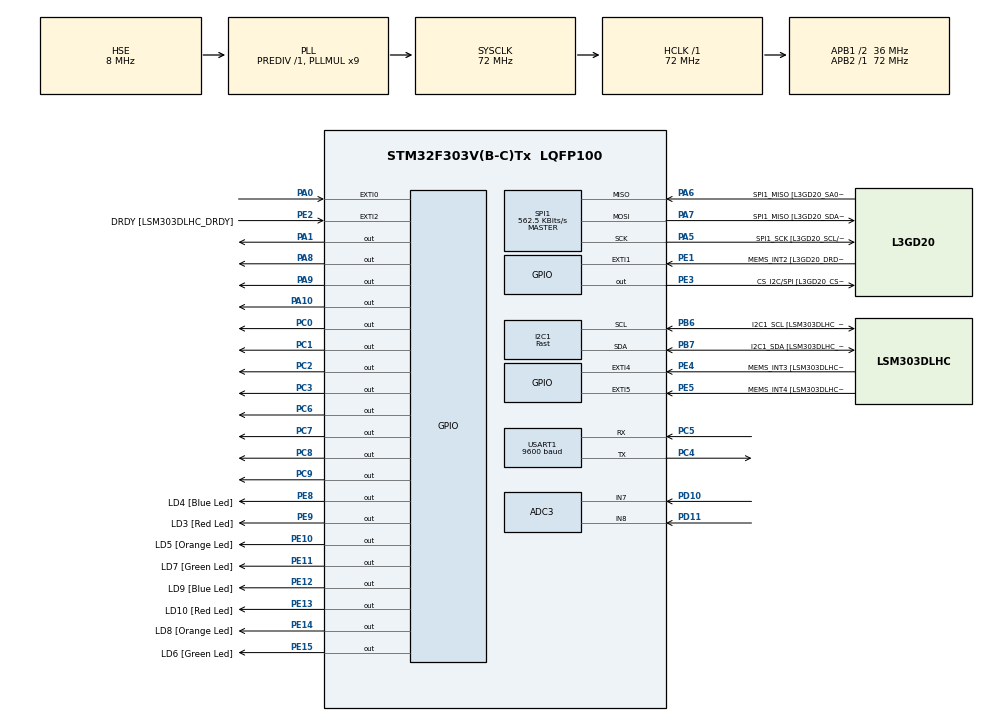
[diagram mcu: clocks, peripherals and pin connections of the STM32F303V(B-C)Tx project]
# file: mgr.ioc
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ADC3.Channel-0\#ChannelRegularConversion=ADC_CHANNEL_7
ADC3.Channel-1\#ChannelRegularConversion=ADC_CHANNEL_8
ADC3.ClockPrescaler=ADC_CLOCKPRESCALER_PCLK_DIV4
ADC3.ContinuousConvMode=ENABLE
ADC3.DMAContinuousRequests=ENABLE
ADC3.NbrOfConversion=2
ADC3.NbrOfConversionFlag=1
ADC3.Offset-0\#ChannelRegularConversion=0
ADC3.Offset-1\#ChannelRegularConversion=0
ADC3.OffsetNumber-0\#ChannelRegularConversion=ADC_OFFSET_NONE
ADC3.OffsetNumber-1\#ChannelRegularConversion=ADC_OFFSET_NONE
ADC3.Rank-0\#ChannelRegularConversion=1
ADC3.Rank-1\#ChannelRegularConversion=2
ADC3.SamplingTime-0\#ChannelRegularConversion=ADC_SAMPLETIME_181CYCLES_5
ADC3.SamplingTime-1\#ChannelRegularConversion=ADC_SAMPLETIME_181CYCLES_5
ADC3.master=1
Dma.ADC3.0.Direction=DMA_PERIPH_TO_MEMORY
Dma.ADC3.0.Instance=DMA2_Channel5
Dma.ADC3.0.MemDataAlignment=DMA_MDATAALIGN_HALFWORD
Dma.ADC3.0.MemInc=DMA_MINC_ENABLE
Dma.ADC3.0.Mode=DMA_CIRCULAR
Dma.ADC3.0.PeriphDataAlignment=DMA_PDATAALIGN_HALFWORD
Dma.ADC3.0.PeriphInc=DMA_PINC_DISABLE
Dma.ADC3.0.Priority=DMA_PRIORITY_LOW
Dma.I2C1_RX.1.Direction=DMA_PERIPH_TO_MEMORY
Dma.I2C1_RX.1.Instance=DMA1_Channel7
Dma.I2C1_RX.1.MemDataAlignment=DMA_MDATAALIGN_BYTE
Dma.I2C1_RX.1.MemInc=DMA_MINC_ENABLE
Dma.I2C1_RX.1.Mode=DMA_NORMAL
Dma.I2C1_RX.1.PeriphDataAlignment=DMA_PDATAALIGN_BYTE
Dma.I2C1_RX.1.PeriphInc=DMA_PINC_DISABLE
Dma.I2C1_RX.1.Priority=DMA_PRIORITY_LOW
Dma.Request0=ADC3
Dma.Request1=I2C1_RX
Dma.Request2=USART1_RX
Dma.Request3=USART1_TX
Dma.USART1_RX.2.Direction=DMA_PERIPH_TO_MEMORY
Dma.USART1_RX.2.Instance=DMA1_Channel5
Dma.USART1_RX.2.MemDataAlignment=DMA_MDATAALIGN_BYTE
Dma.USART1_RX.2.MemInc=DMA_MINC_ENABLE
Dma.USART1_RX.2.Mode=DMA_NORMAL
Dma.USART1_RX.2.PeriphDataAlignment=DMA_PDATAALIGN_BYTE
Dma.USART1_RX.2.PeriphInc=DMA_PINC_DISABLE
Dma.USART1_RX.2.Priority=DMA_PRIORITY_LOW
Dma.USART1_TX.3.Direction=DMA_MEMORY_TO_PERIPH
Dma.USART1_TX.3.Instance=DMA1_Channel4
Dma.USART1_TX.3.MemDataAlignment=DMA_MDATAALIGN_BYTE
Dma.USART1_TX.3.MemInc=DMA_MINC_ENABLE
Dma.USART1_TX.3.Mode=DMA_NORMAL
Dma.USART1_TX.3.PeriphDataAlignment=DMA_PDATAALIGN_BYTE
Dma.USART1_TX.3.PeriphInc=DMA_PINC_DISABLE
Dma.USART1_TX.3.Priority=DMA_PRIORITY_LOW
I2C1.I2C_Speed_Mode=I2C_Fast
I2C1.Timing=0x0000020B
Mcu.Family=STM32F3
Mcu.Name=STM32F303V(B-C)Tx
Mcu.Package=LQFP100
NVIC.DMA1_Channel4_IRQn=true\:0\:0\:false
NVIC.DMA1_Channel5_IRQn=true\:0\:0\:false
NVIC.DMA1_Channel7_IRQn=true\:0\:0\:false
NVIC.DMA2_Channel5_IRQn=true\:0\:0\:false
NVIC.EXTI0_IRQn=true\:0\:0\:false
NVIC.PriorityGroup=NVIC_PRIORITYGROUP_1
NVIC.TIM6_DAC_IRQn=true\:1\:1\:true
NVIC.TIM7_IRQn=true\:0\:0\:true
NVIC.USART1_IRQn=true\:0\:0\:false
PA0.Signal=GPXTI0
PA1.Signal=GPIO_Output
PA10.Signal=GPIO_Output
PA11.GPIO_Label=DM
PA11.Signal=USB_DM
PA12.GPIO_Label=DP
PA12.Signal=USB_DP
PA13.GPIO_Label=SWDIO
PA13.Mode=Trace-Asynchronous_SW
PA13.Signal=SYS_JTMS-SWDIO
PA14.GPIO_Label=SWCLK
PA14.Mode=Trace-Asynchronous_SW
PA14.Signal=SYS_JTCK-SWCLK
PA5.GPIO_Label=SPI1_SCK [L3GD20_SCL/SPC]
PA5.GPIO_Mode=GPIO_MODE_AF_PP
PA5.GPIO_PuPd=GPIO_NOPULL
PA5.GPIO_Speed=GPIO_SPEED_LOW
PA5.Mode=Full_Duplex_Master
PA5.Signal=SPI1_SCK
PA6.GPIO_Label=SPI1_MISO [L3GD20_SA0/SDO]
PA6.GPIO_Mode=GPIO_MODE_AF_PP
PA6.GPIO_PuPd=GPIO_NOPULL
PA6.GPIO_Speed=GPIO_SPEED_LOW
PA6.Mode=Full_Duplex_Master
PA6.Signal=SPI1_MISO
PA7.GPIO_Label=SPI1_MISO [L3GD20_SDA/SDI/SDO]
PA7.GPIO_Mode=GPIO_MODE_AF_PP
PA7.GPIO_PuPd=GPIO_NOPULL
PA7.GPIO_Speed=GPIO_SPEED_LOW
PA7.Mode=Full_Duplex_Master
PA7.Signal=SPI1_MOSI
PA8.Signal=GPIO_Output
PA9.Signal=GPIO_Output
PB3.GPIO_Label=SWO
PB3.Mode=Trace-Asynchronous_SW
PB3.Signal=SYS_JTDO-TRACESWO
PB6.GPIO_FM6=__NULL
PB6.GPIO_Label=I2C1_SCL [LSM303DLHC_SCL]
PB6.GPIO_Mode=GPIO_MODE_AF_OD
PB6.GPIO_PuPd=GPIO_NOPULL
PB6.GPIO_Speed=GPIO_SPEED_LOW
PB6.Mode=I2C
PB6.Signal=I2C1_SCL
PB7.GPIO_FM7=__NULL
PB7.GPIO_Label=I2C1_SDA [LSM303DLHC_SDA]
PB7.GPIO_Mode=GPIO_MODE_AF_OD
PB7.GPIO_PuPd=GPIO_NOPULL
PB7.GPIO_Speed=GPIO_SPEED_LOW
PB7.Mode=I2C
PB7.Signal=I2C1_SDA
PC0.Signal=GPIO_Output
PC1.Signal=GPIO_Output
PC14-OSC32_IN.GPIO_Label=OSC32_IN
PC14-OSC32_IN.Signal=RCC_OSC32_IN
PC15-OSC32_OUT.GPIO_Label=OSC32_OUT
PC15-OSC32_OUT.Signal=RCC_OSC32_OUT
PC2.Signal=GPIO_Output
PC3.Signal=GPIO_Output
PC4.Mode=Asynchronous
PC4.Signal=USART1_TX
PC5.Mode=Asynchronous
PC5.Signal=USART1_RX
PC6.Signal=GPIO_Output
PC7.Signal=GPIO_Output
PC8.Signal=GPIO_Output
PC9.Signal=GPIO_Output
PD10.Signal=ADCx_IN7P
PD11.Signal=ADCx_IN8P
PE1.GPIO_Label=MEMS_INT2 [L3GD20_DRDY/INT2]
PE1.GPIO_ModeDefaultEXTI=GPIO_MODE_EVT_RISING
PE1.GPIO_PuPd=GPIO_NOPULL
PE1.Signal=GPXTI1
PE10.GPIO_Label=LD5 [Orange Led]
PE10.GPIO_ModeDefaultOutputPP=GPIO_MODE_OUTPUT_PP
PE10.GPIO_PuPd=GPIO_NOPULL
PE10.GPIO_Speed=GPIO_SPEED_LOW
PE10.Signal=GPIO_Output
PE11.GPIO_Label=LD7 [Green Led]
PE11.GPIO_ModeDefaultOutputPP=GPIO_MODE_OUTPUT_PP
PE11.GPIO_PuPd=GPIO_NOPULL
PE11.GPIO_Speed=GPIO_SPEED_LOW
PE11.Signal=GPIO_Output
PE12.GPIO_Label=LD9 [Blue Led]
PE12.GPIO_ModeDefaultOutputPP=GPIO_MODE_OUTPUT_PP
PE12.GPIO_PuPd=GPIO_NOPULL
PE12.GPIO_Speed=GPIO_SPEED_LOW
PE12.Signal=GPIO_Output
PE13.GPIO_Label=LD10 [Red Led]
PE13.GPIO_ModeDefaultOutputPP=GPIO_MODE_OUTPUT_PP
PE13.GPIO_PuPd=GPIO_NOPULL
PE13.GPIO_Speed=GPIO_SPEED_LOW
PE13.Signal=GPIO_Output
PE14.GPIO_Label=LD8 [Orange Led]
PE14.GPIO_ModeDefaultOutputPP=GPIO_MODE_OUTPUT_PP
PE14.GPIO_PuPd=GPIO_NOPULL
PE14.GPIO_Speed=GPIO_SPEED_LOW
PE14.Signal=GPIO_Output
PE15.GPIO_Label=LD6 [Green Led]
PE15.GPIO_ModeDefaultOutputPP=GPIO_MODE_OUTPUT_PP
PE15.GPIO_PuPd=GPIO_NOPULL
PE15.GPIO_Speed=GPIO_SPEED_LOW
PE15.Signal=GPIO_Output
PE2.GPIO_Label=DRDY [LSM303DLHC_DRDY]
PE2.GPIO_ModeDefaultEXTI=GPIO_MODE_EVT_RISING
PE2.GPIO_PuPd=GPIO_NOPULL
PE2.Signal=GPXTI2
PE3.GPIO_Label=CS_I2C/SPI [L3GD20_CS_I2C/SPI]
PE3.GPIO_ModeDefaultOutputPP=GPIO_MODE_OUTPUT_PP
PE3.GPIO_PuPd=GPIO_NOPULL
PE3.GPIO_Speed=GPIO_SPEED_LOW
PE3.Signal=GPIO_Output
PE4.GPIO_Label=MEMS_INT3 [LSM303DLHC_INT1]
PE4.GPIO_ModeDefaultEXTI=GPIO_MODE_EVT_RISING
PE4.GPIO_PuPd=GPIO_NOPULL
PE4.Signal=GPXTI4
PE5.GPIO_Label=MEMS_INT4 [LSM303DLHC_INT2]
PE5.GPIO_ModeDefaultEXTI=GPIO_MODE_EVT_RISING
PE5.GPIO_PuPd=GPIO_NOPULL
PE5.Signal=GPXTI5
PE8.GPIO_Label=LD4 [Blue Led]
PE8.GPIO_ModeDefaultOutputPP=GPIO_MODE_OUTPUT_PP
PE8.GPIO_PuPd=GPIO_NOPULL
PE8.GPIO_Speed=GPIO_SPEED_LOW
PE8.Signal=GPIO_Output
PE9.GPIO_Label=LD3 [Red Led]
PE9.GPIO_ModeDefaultOutputPP=GPIO_MODE_OUTPUT_PP
PE9.GPIO_PuPd=GPIO_NOPULL
PE9.GPIO_Speed=GPIO_SPEED_LOW
PE9.Signal=GPIO_Output
PF0-OSC_IN.GPIO_Label=OSC_IN
PF0-OSC_IN.Mode=HSE-External-Oscillator
PF0-OSC_IN.Signal=RCC_OSC_IN
PF1-OSC_OUT.GPIO_Label=OSC_OUT
PF1-OSC_OUT.Mode=HSE-External-Oscillator
PF1-OSC_OUT.Signal=RCC_OSC_OUT
ProjectManager.TargetToolchain=SW4STM32
RCC.AHBFreq_Value=72000000
RCC.APB1CLKDivider=RCC_HCLK_DIV2
RCC.APB1Freq_Value=36000000
RCC.APB1TimFreq_Value=72000000
RCC.APB2Freq_Value=72000000
RCC.APB2TimFreq_Value=72000000
RCC.CortexFreq_Value=72000000
RCC.HCLKFreq_Value=72000000
RCC.HSE_VALUE=8000000
RCC.HSI_VALUE=8000000
RCC.LSE_VALUE=32768
RCC.PLLMUL=RCC_PLL_MUL9
RCC.PLLSourceVirtual=RCC_PLLSOURCE_HSE
RCC.PRESCALERUSB=RCC_USBPLLCLK_DIV1_5
RCC.SYSCLKFreq_VALUE=72000000
RCC.SYSCLKSourceVirtual=RCC_SYSCLKSOURCE_PLLCLK
RCC.USBFreq_Value=48000000
SH.ADCx_IN7P.0=ADC3_IN7,IN7-Single-Ended
SH.ADCx_IN8P.0=ADC3_IN8,IN8-Single-Ended
SPI1.BaudRatePrescaler=SPI_BAUDRATEPRESCALER_128
SPI1.CLKPhase=SPI_PHASE_2EDGE
SPI1.CLKPolarity=SPI_POLARITY_HIGH
SPI1.CalculateBaudRate=562.5 KBits/s
SPI1.DataSize=SPI_DATASIZE_16BIT
SPI1.Mode=SPI_MODE_MASTER
TIM6.Period=11999
TIM6.Prescaler=119
TIM7.Period=9
TIM7.Prescaler=71
USART1.BaudRate=9600
VP_TIM6_VS_ClockSourceINT.Mode=Enable_Timer
VP_TIM7_VS_ClockSourceINT.Mode=Enable_Timer
board=STM32F3DISCOVERY

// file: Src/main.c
/**
  ******************************************************************************
  * File Name          : main.c
  * Description        : Main program body
  ******************************************************************************
  *
  * COPYRIGHT(c) 2018 STMicroelectronics
  *
  * Redistribution and use in source and binary forms, with or without modification,
  * are permitted provided that the following conditions are met:
  *   1. Redistributions of source code must retain the above copyright notice,
  *      this list of conditions and the following disclaimer.
  *   2. Redistributions in binary form must reproduce the above copyright notice,
  *      this list of conditions and the following disclaimer in the documentation
  *      and/or other materials provided with the distribution.
  *   3. Neither the name of STMicroelectronics nor the names of its contributors
  *      may be used to endorse or promote products derived from this software
  *      without specific prior written permission.
  *
  * THIS SOFTWARE IS PROVIDED BY THE COPYRIGHT HOLDERS AND CONTRIBUTORS "AS IS"
  * AND ANY EXPRESS OR IMPLIED WARRANTIES, INCLUDING, BUT NOT LIMITED TO, THE
  * IMPLIED WARRANTIES OF MERCHANTABILITY AND FITNESS FOR A PARTICULAR PURPOSE ARE
  * DISCLAIMED. IN NO EVENT SHALL THE COPYRIGHT HOLDER OR CONTRIBUTORS BE LIABLE
  * FOR ANY DIRECT, INDIRECT, INCIDENTAL, SPECIAL, EXEMPLARY, OR CONSEQUENTIAL
  * DAMAGES (INCLUDING, BUT NOT LIMITED TO, PROCUREMENT OF SUBSTITUTE GOODS OR
  * SERVICES; LOSS OF USE, DATA, OR PROFITS; OR BUSINESS INTERRUPTION) HOWEVER
  * CAUSED AND ON ANY THEORY OF LIABILITY, WHETHER IN CONTRACT, STRICT LIABILITY,
  * OR TORT (INCLUDING NEGLIGENCE OR OTHERWISE) ARISING IN ANY WAY OUT OF THE USE
  * OF THIS SOFTWARE, EVEN IF ADVISED OF THE POSSIBILITY OF SUCH DAMAGE.
  *
  ******************************************************************************
  */
#include "stm32f3xx_hal.h"

/* USER CODE BEGIN Includes */
typedef int bool;
#define true 1
#define false 0

#define WHEEL_INTERTIA 1//2.2456e-05
bool motors_on=false;
bool battery_ok=true;
uint16_t Analog[2];
float Voltage=0;
float Current=0;

float time_s=0;
float angle=0;
float angle_correction;
float comp_gain=0.2;//0.05;
float set_point=0;
float speed_set_point=0;
float speed=0;
float speed_integral=0;
float P=68;//40
float I=36;
float D=1.8;//1.6 z kablem 1.8 spoko bez
float P_2=3;
float I_2=0.22;
float error;
float integral;
float derivative;
#include <math.h>
#include <limits.h>
#include <stddef.h>
#include <stdlib.h>
#include <string.h>
#include <stdio.h>

#include "LIB_Config.h"
#include "G:\Studia\Mgr\mgr\stm\mgr\SW4STM32\mgr Configuration\Application\User\get_b_constraints.h"
#include "G:\Studia\Mgr\mgr\stm\mgr\SW4STM32\mgr Configuration\Application\User\steppers.h"
#include "G:\Studia\Mgr\mgr\stm\mgr\SW4STM32\mgr Configuration\Application\User\magdewick.h"
#include "G:\Studia\Mgr\mgr\stm\mgr\SW4STM32\mgr Configuration\Application\User\MadgwickAHRS.h"
#include "my_interupts.h"
#include "tm_stm32f4_l3gd20.h"

/* USER CODE END Includes */

ADC_HandleTypeDef hadc3;
DMA_HandleTypeDef hdma_adc3;

I2C_HandleTypeDef hi2c1;
DMA_HandleTypeDef hdma_i2c1_rx;

SPI_HandleTypeDef hspi1;

TIM_HandleTypeDef htim6;
TIM_HandleTypeDef htim7;

UART_HandleTypeDef huart1;
DMA_HandleTypeDef hdma_usart1_rx;
DMA_HandleTypeDef hdma_usart1_tx;

/* USER CODE BEGIN PV */
/* Private variables ---------------------------------------------------------*/
uint8_t Received[10]; //data buffer from uart/bluettoh
uint32_t steppers_cnt=0;
uint32_t time_to_next_step=2;
int8_t stepper_direction=1;
float acceleration=0.1;
float BalancePoint= 88.57*DEGREE2RAD;
TM_L3GD20_t L3GD20_Data;
Acceleration_G_data LSM303_Data;
// Global system variables
//Quaternion Magdewick_res={1,0,0,0};

// estimated orientation quaternion elements with initial conditions
float gyro_X_angle =0;
float gyro_Y_angle =0;
float gyro_Z_angle =0;
float gyro_X_speed =0;
float gyro_Y_speed =0;
float gyro_Z_speed =0;
float accel_angle;
float pitch=0;
float roll=0;
/// MPC VARIABLES/////////////////////
float Np = 15;
float r[2]={0, 0};
float X_act[6] ={
		  0.000000, //phi
		  0.000000, //etha
		  0.000000, //d phi
		  0.000000, //d etha
		  0.000000, // wheel speed out
		  0.000000 }; //etha out

const float  F[180]={
0.000000,0.000000,0.000000,0.000000,0.000000,0.000000,0.000000,0.000000,0.000000,0.000000,0.000000,0.000000,0.000000,0.000000,0.000000,0.000000,0.000000,0.000000,0.000000,0.000000,0.000000,0.000000,0.000000,0.000000,0.000000,0.000000,0.000000,0.000000,0.000000,0.000000,
1.033300,0.000000,2.133174,0.000000,3.325771,0.000000,4.637785,0.000000,6.097348,0.000000,7.734716,0.000000,9.582963,0.000000,11.678706,0.000000,14.062869,0.000000,16.781528,0.000000,19.886823,0.000000,23.437989,0.000000,27.502503,0.000000,32.157381,0.000000,37.490653,0.000000,
0.008102,0.000000,0.026841,0.000000,0.056070,0.000000,0.095865,0.000000,0.146589,0.000000,0.208883,0.000000,0.283667,0.000000,0.372142,0.000000,0.475807,0.000000,0.596477,0.000000,0.736316,0.000000,0.897866,0.000000,1.084095,0.000000,1.298452,0.000000,1.544922,0.000000,
0.013882,0.000000,0.039098,0.000000,0.075494,0.000000,0.123292,0.000000,0.183020,0.000000,0.255499,0.000000,0.341848,0.000000,0.443494,0.000000,0.562190,0.000000,0.700039,0.000000,0.859529,0.000000,1.043578,0.000000,1.255581,0.000000,1.499470,0.000000,1.779791,0.000000,
1.000000,0.000000,1.000000,0.000000,1.000000,0.000000,1.000000,0.000000,1.000000,0.000000,1.000000,0.000000,1.000000,0.000000,1.000000,0.000000,1.000000,0.000000,1.000000,0.000000,1.000000,0.000000,1.000000,0.000000,1.000000,0.000000,1.000000,0.000000,1.000000,0.000000,
0.000000,1.000000,0.000000,1.000000,0.000000,1.000000,0.000000,1.000000,0.000000,1.000000,0.000000,1.000000,0.000000,1.000000,0.000000,1.000000,0.000000,1.000000,0.000000,1.000000,0.000000,1.000000,0.000000,1.000000,0.000000,1.000000,0.000000,1.000000,0.000000,1.000000,
};
const float  Phi[90]={
0.127391,0.000000,0.326471,0.000000,0.560497,0.000000,0.832456,0.000000,1.147217,0.000000,1.510530,0.000000,1.929088,0.000000,2.410657,0.000000,2.964205,0.000000,3.600076,0.000000,4.330176,0.000000,5.168198,0.000000,6.129874,0.000000,7.233271,0.000000,8.499131,0.000000,
0.000000,0.000000,0.127391,0.000000,0.326471,0.000000,0.560497,0.000000,0.832456,0.000000,1.147217,0.000000,1.510530,0.000000,1.929088,0.000000,2.410657,0.000000,2.964205,0.000000,3.600076,0.000000,4.330176,0.000000,5.168198,0.000000,6.129874,0.000000,7.233271,0.000000,
0.000000,0.000000,0.000000,0.000000,0.127391,0.000000,0.326471,0.000000,0.560497,0.000000,0.832456,0.000000,1.147217,0.000000,1.510530,0.000000,1.929088,0.000000,2.410657,0.000000,2.964205,0.000000,3.600076,0.000000,4.330176,0.000000,5.168198,0.000000,6.129874,0.000000,
};
const float  H[9]={
243.598964,204.224579,169.961303,
204.224579,171.363737,142.748057,
169.961303,142.748057,119.043520,
};

const float  A_cons[36]={
1.000000,1.000000,1.000000,-1.000000,-1.000000,-1.000000,1.000000,0.000000,0.000000,-1.000000,-0.000000,-0.000000,
0.000000,1.000000,1.000000,-0.000000,-1.000000,-1.000000,0.000000,1.000000,0.000000,-0.000000,-1.000000,-0.000000,
0.000000,0.000000,1.000000,-0.000000,-0.000000,-1.000000,0.000000,0.000000,1.000000,-0.000000,-0.000000,-1.000000,
};
float b[12];

float eta[3];
float X_prev[6]	=	  {0,//-1.12, //phi
0.000000, //etha
0.000000, //d phi
0.000000, //d etha
0.000000, // wheel speed out
0};//-1.12 }; //etha out
float X_diff[6];
float f[3];
/////////////////////MPc VARIABLES END ////////////////////////////////////////////
/* USER CODE END PV */

void SystemClock_Config(void);
static void MX_GPIO_Init(void);
static void MX_DMA_Init(void);
static void MX_ADC3_Init(void);
static void MX_I2C1_Init(void);
static void MX_SPI1_Init(void);
static void MX_TIM6_Init(void);
static void MX_TIM7_Init(void);
static void MX_USART1_UART_Init(void);

/* USER CODE BEGIN PFP */
/* Private function prototypes -----------------------------------------------*/
void HAL_GPIO_EXTI_Callback(uint16_t GPIO_Pin){
	if ((motors_on==true)&&(battery_ok==true))
	{	motors_on=false;
		HAL_GPIO_WritePin(GPIOA,GPIO_PIN_1,GPIO_PIN_SET);}
	else
	{	motors_on=true;
		HAL_GPIO_WritePin(GPIOA,GPIO_PIN_1,GPIO_PIN_RESET);
	}
	//acceleration=-acceleration;
	speed_integral=0;
	integral=0;
}

void HAL_TIM_PeriodElapsedCallback(TIM_HandleTypeDef *htim){
 if(htim->Instance == TIM6){ // Je¿eli przerwanie pochodzi od timera 6 200Hz
	 float const dt=0.02;
	 time_s+=dt;
/*
	 //HAL_GPIO_TogglePin(GPIOC,GPIO_PIN_6);
	  // Pobranie 6 bajt7ow danych zawierajacych przyspieszenia w 3 osiach
	  	TM_L3GD20_Read(&L3GD20_Data);
	 	getAcceleration(&LSM303_Data);
	 	gyro_X_speed =((float)(L3GD20_Data.X)*L3GD20_SENSITIVITY_250 * 0.001)*0.0174532925;
	 	//gyro_Y_speed =((float)(L3GD20_Data.Y)*L3GD20_SENSITIVITY_250 * 0.001)*0.0174532925;
	 	//gyro_Z_speed =((float)(L3GD20_Data.Z)*L3GD20_SENSITIVITY_250 * 0.001)*0.0174532925;

		if(time_to_next_step<5)
			time_to_next_step=5;

		speed=(float)((-GET_WHEEL_SPEED_FACTOR*(float)stepper_direction)/(float)time_to_next_step);
		speed_integral+= speed*dt; //+= speed*dt;

	 	gyro_X_angle+=gyro_X_speed *dt;
		accel_angle=atan2f(LSM303_Data.X,LSM303_Data.Z)*-1;

		angle=comp_gain*accel_angle+(1-comp_gain)*(angle+((float)(L3GD20_Data.X)*L3GD20_SENSITIVITY_250 * 0.001*DEGREE2RAD)*dt);//-BalancePoint;

		angle_correction=angle-BalancePoint;
		derivative=((set_point-angle_correction)-error)/dt ;

		integral += error*dt;

		X_act[0]=angle_correction;
		X_act[1]=speed_integral;
		X_act[2]=gyro_X_speed;
		X_act[3]=speed;
		X_act[4]=angle_correction;//angle_correction;
		X_act[5]=angle_correction;

		float X_prev[6];

		for(int i=0;i<4;i++)
		{
			X_diff[i]=X_act[i]-X_prev[i];
		}
		X_diff[4]=angle_correction;//angle_correction;
		X_diff[5]=angle_correction;

		//get_b_constraints(MAX_U_DELTA, MAX_U,acceleration, b);
		get_b_constraints(MAX_U_DELTA, MAX_U,acceleration, b);

		 get_f(Np,  r,  F, X_diff,Phi, f);
		 QPhild2(H, f, A_cons,b, eta);

		 for(int i=0;i<4;i++)
		 {
		 	X_prev[i]=X_act[i];
		 }

		if(eta[0]==eta[0])//false when NaN
		 acceleration+= eta[0]/WHEEL_INTERTIA; //+=

	 	if (acceleration< -MAX_U)
	 		acceleration=-MAX_U;
	 	if (acceleration >MAX_U)
	 		acceleration=MAX_U;

	 	Voltage=3*(((float)Analog[0])/409);
	 	Current=3*(((float)Analog[1])/409);
*/
 }
 if(htim->Instance == TIM7){ // Je¿eli przerwanie pochodzi od timera 7 100 kHz
	 steppers_cnt++;
	 if(steppers_cnt>time_to_next_step)
	 {
		 make_step(stepper_direction);
		 time_to_next_step=calculate_next_step(&acceleration,&stepper_direction);
		 steppers_cnt=0;

	 }
 }
}

void HAL_UART_RxCpltCallback(UART_HandleTypeDef *huart) {

 static uint8_t Data[260]; // Tablica przechowujaca wysylana wiadomosc.

 //sprintf(Data, "Odebrana wiadomosc: %s\n\r", Received);

 float const dt=0.02;
 TM_L3GD20_Read(&L3GD20_Data);
 getAcceleration(&LSM303_Data);
 gyro_X_speed =((float)(L3GD20_Data.X)*L3GD20_SENSITIVITY_250 * 0.001)*0.0174532925;

 speed=(float)((-GET_WHEEL_SPEED_FACTOR*(float)stepper_direction)/(float)time_to_next_step);
 speed_integral+= speed*dt; //+= speed*dt;

 gyro_X_angle+=gyro_X_speed *dt;
 accel_angle=atan2f(LSM303_Data.X,LSM303_Data.Z)*-1;

 angle=comp_gain*accel_angle+(1-comp_gain)*(angle+((float)(L3GD20_Data.X)*L3GD20_SENSITIVITY_250 * 0.001*DEGREE2RAD)*dt);//-BalancePoint;

 angle_correction=angle-BalancePoint;
 derivative=((set_point-angle_correction)-error)/dt ;

 //sprintf(Data, "Test=%g", (float)123.33);
 int64_t X_act_int[6];
 int64_t eta_int[3];

 		X_act[0]=angle_correction;
 		X_act[1]=speed_integral;
 		X_act[2]=gyro_X_speed;
 		X_act[3]=speed;
 		X_act[4]=angle_correction;//angle_correction;
 		X_act[5]=angle_correction;

 		int i;

 		static float X_prev[4]={0,0,0,0};
 		for(int i=0;i<4;i++)
 		   {
 		    	X_diff[i]=X_act[i]-X_prev[i];
 		    }
 		    X_diff[4]=angle_correction;//angle_correction;
 		    X_diff[5]=angle_correction;
 		for (i = 0; i < 6; i++) {
 			X_act_int[i]=(int64_t)(X_diff[i]*1000000000);
 			}

 		get_b_constraints(MAX_U_DELTA, MAX_U,acceleration, b);
 		get_f(Np,  r,  F, X_act,Phi, f);
 	    QPhild2(H, f, A_cons,b, eta);

 	   for (i = 0; i < 3; i++) {
 		  eta_int[i]=(int64_t)(eta[i]*1000000000);
 	    }
 	   for(int i=0;i<4;i++)
 	   {
 	      X_prev[i]=X_act[i];
 	   }
 	   sprintf(Data, "XA:%d;%d;%d;%d;%d;%d;%d;%d;%d",X_act_int[0],X_act_int[1],X_act_int[2],X_act_int[3],X_act_int[4],X_act_int[5],eta_int[0],eta_int[1],eta_int[2]);

 		HAL_UART_Transmit_DMA(&huart1, Data, 260); // Rozpoczecie nadawania danych z wykorzystaniem przerwan
 		HAL_UART_Receive_DMA(&huart1, Received, 10); // Ponowne w³¹czenie nas³uchiwania
}

/* USER CODE END PFP */

/* USER CODE BEGIN 0 */
/* L3GD20 Struct */

/* USER CODE END 0 */

int main(void)
{

  /* MCU Configuration----------------------------------------------------------*/

  /* Reset of all peripherals, Initializes the Flash interface and the Systick. */
  HAL_Init();

  /* Configure the system clock */
  SystemClock_Config();

  /* Initialize all configured peripherals */
  MX_GPIO_Init();
  MX_DMA_Init();
  MX_ADC3_Init();
  MX_I2C1_Init();
  MX_SPI1_Init();
  MX_TIM6_Init();
  MX_TIM7_Init();
  MX_USART1_UART_Init();

  /* USER CODE BEGIN 2 */
  HAL_GPIO_TogglePin(GPIOA,GPIO_PIN_1);
 //HAL_GPIO_TogglePin(GPIOA,GPIO_PIN_3); //////////TUUUUUUUU
  HAL_TIM_Base_Start_IT(&htim6);
  HAL_TIM_Base_Start_IT(&htim7);
  HAL_ADC_Start_DMA(&hadc3, Analog, 2);
  HAL_GPIO_WritePin(GPIOE, GPIO_PIN_15, GPIO_PIN_SET);
//GYRO INIT
  TM_L3GD20_Init(TM_L3GD20_Scale_250);

  //Akcelerometr
  // wypelnieine zmiennej konfiguracyjnej odpowiednimi opcjami
   uint8_t Settings = LSM303_ACC_XYZ_ENABLE | LSM303_ACC_100HZ;
   // Wpisanie konfiguracji do rejestru akcelerometru
    HAL_I2C_Mem_Write(&hi2c1, LSM303_ACC_ADDRESS, LSM303_ACC_CTRL_REG1_A, 1, &Settings, 1, 100);

    //* MPC UNIT TEST */
  /*  acceleration=0;

    //10.1;-0.01;0.1; 0 ; 0;0
	X_act[0]=10.1;
	X_act[1]=-0.01;
	X_act[2]=0.1;
	X_act[3]=0;
	X_act[4]=0;
	X_act[5]=0;

	//get_b_constraints(MAX_U_DELTA, MAX_U,acceleration, b);
	int i;
		for (i = 0; i < 3; i++) {
		    b[i] = MAX_U - acceleration;
		  }
		for (i = 0; i < 3; i++) {
			 b[i+3] = -MAX_U - acceleration;
		}
		 for (i = 0; i < 3; i++) {
		    b[i + 6] = acceleration+MAX_U_DELTA  ;
		  }
		 for (i = 0; i < 3; i++) {
		 	b[i + 9] = -MAX_U_DELTA +acceleration;
		 }

	 get_f(Np,  r,  F, X_act,Phi, f);
	 QPhild2(H, f, A_cons,b, eta);

	 acceleration= eta[0];
*/

  /* USER CODE END 2 */

  /* Infinite loop */
  /* USER CODE BEGIN WHILE */
 /*   acceleration=0;
    		HAL_Delay(1500);
    				X_act[0]=0;
    				X_act[1]=0.1;
    				X_act[2]=0;
    				X_act[3]=0;
    				X_act[4]=0.1;//angle_correction;
    				X_act[5]=0.1;

    				float X_prev[4]={0,0,0,0};
    				for(int i=0;i<4;i++)
    				{
    					X_diff[i]=X_act[i]-X_prev[i];
    				}
    				X_diff[4]=angle_correction;//angle_correction;
    				X_diff[5]=angle_correction;

    				get_b_constraints(MAX_U_DELTA, MAX_U,acceleration, b);
    				get_f(Np,  r,  F, X_diff,Phi, f);
    				QPhild2(H, f, A_cons,b, eta);

    				 for(int i=0;i<4;i++)
    				 {
    				 	X_prev[i]=X_act[i];
    				 }
    				if(eta[0]==eta[0])//false when NaN
    				 acceleration+= eta[0]/WHEEL_INTERTIA; //+=

    				//////////2//////////////////////////////////////////

    				HAL_Delay(1500);
    								X_act[0]=-0.0012;
    								X_act[1]=0.1033;
    								X_act[2]=-0.0579;
    								X_act[3]=0.2655;
    								X_act[4]=0.1033;//angle_correction;
    								X_act[5]=0.1033;

    								for(int i=0;i<4;i++)
    								{
    									X_diff[i]=X_act[i]-X_prev[i];
    								}
    								X_diff[4]=0.1033;//angle_correction;
    								X_diff[5]=0.1033;

    								get_b_constraints(MAX_U_DELTA, MAX_U,acceleration, b);
    								get_f(Np,  r,  F, X_diff,Phi, f);
    								QPhild2(H, f, A_cons,b, eta);

    								 for(int i=0;i<4;i++)
    								 {
    								 	X_prev[i]=X_act[i];
    								 }
    								if(eta[0]==eta[0])//false when NaN
    								 acceleration+= eta[0]/WHEEL_INTERTIA; //+=

    				//////////3//////////////////////////////////////////
    								HAL_Delay(1500);
    								X_act[0]= 0.0081;

    												X_act[1]=0.0985;
    												X_act[2]=0.6492;
    												X_act[3]=-0.4117;
    												X_act[4]=0.0985;//angle_correction;
    												X_act[5]=0.0985;

    												for(int i=0;i<4;i++)
    												{
    													X_diff[i]=X_act[i]-X_prev[i];
    												}
    												X_diff[4]=angle_correction;//angle_correction;
    												X_diff[5]=angle_correction;

    												get_b_constraints(MAX_U_DELTA, MAX_U,acceleration, b);
    												get_f(Np,  r,  F, X_diff,Phi, f);
    												QPhild2(H, f, A_cons,b, eta);

    												 for(int i=0;i<4;i++)
    												 {
    												 	X_prev[i]=X_act[i];
    												 }
    												if(eta[0]==eta[0])//false when NaN
    												 acceleration+= eta[0]/WHEEL_INTERTIA; //+=

*/

  while (1)
  {
	  HAL_UART_Receive_IT(&huart1, Received, 10);
		HAL_GPIO_TogglePin(GPIOE,GPIO_PIN_8);
		HAL_Delay(500);
		if (Voltage <10.5)
		{	battery_ok=false;
			HAL_GPIO_TogglePin(GPIOE,GPIO_PIN_10);
			HAL_GPIO_TogglePin(GPIOE,GPIO_PIN_11);
			HAL_GPIO_TogglePin(GPIOE,GPIO_PIN_12);
		}

	 /* steppers_cnt++;
	  	 if(steppers_cnt>time_to_next_step)
	  	 {
	  		 make_step(stepper_direction);
	  		 time_to_next_step=calculate_next_step(acceleration,stepper_direction);
	  		 steppers_cnt=0;
	  	 }*/
	//TM_L3GD20_Read(&L3GD20_Data);

	 //float x =my_regulator_ict(0,&hi2c1);
  /* USER CODE END WHILE */

  /* USER CODE BEGIN 3 */
			//////////1//////////////////////////////////////////

  }

  /* USER CODE END 3 */

}

/** System Clock Configuration
*/
void SystemClock_Config(void)
{

  RCC_OscInitTypeDef RCC_OscInitStruct;
  RCC_ClkInitTypeDef RCC_ClkInitStruct;
  RCC_PeriphCLKInitTypeDef PeriphClkInit;

  RCC_OscInitStruct.OscillatorType = RCC_OSCILLATORTYPE_HSI|RCC_OSCILLATORTYPE_HSE;
  RCC_OscInitStruct.HSEState = RCC_HSE_ON;
  RCC_OscInitStruct.HSEPredivValue = RCC_HSE_PREDIV_DIV1;
  RCC_OscInitStruct.HSIState = RCC_HSI_ON;
  RCC_OscInitStruct.HSICalibrationValue = 16;
  RCC_OscInitStruct.PLL.PLLState = RCC_PLL_ON;
  RCC_OscInitStruct.PLL.PLLSource = RCC_PLLSOURCE_HSE;
  RCC_OscInitStruct.PLL.PLLMUL = RCC_PLL_MUL9;
  HAL_RCC_OscConfig(&RCC_OscInitStruct);

  RCC_ClkInitStruct.ClockType = RCC_CLOCKTYPE_SYSCLK|RCC_CLOCKTYPE_PCLK1;
  RCC_ClkInitStruct.SYSCLKSource = RCC_SYSCLKSOURCE_PLLCLK;
  RCC_ClkInitStruct.AHBCLKDivider = RCC_SYSCLK_DIV1;
  RCC_ClkInitStruct.APB1CLKDivider = RCC_HCLK_DIV2;
  RCC_ClkInitStruct.APB2CLKDivider = RCC_HCLK_DIV1;
  HAL_RCC_ClockConfig(&RCC_ClkInitStruct, FLASH_LATENCY_2);

  PeriphClkInit.PeriphClockSelection = RCC_PERIPHCLK_USART1|RCC_PERIPHCLK_I2C1;
  PeriphClkInit.Usart1ClockSelection = RCC_USART1CLKSOURCE_PCLK2;
  PeriphClkInit.I2c1ClockSelection = RCC_I2C1CLKSOURCE_HSI;
  HAL_RCCEx_PeriphCLKConfig(&PeriphClkInit);

  HAL_SYSTICK_Config(HAL_RCC_GetHCLKFreq()/1000);

  HAL_SYSTICK_CLKSourceConfig(SYSTICK_CLKSOURCE_HCLK);

  /* SysTick_IRQn interrupt configuration */
  HAL_NVIC_SetPriority(SysTick_IRQn, 0, 0);
}

/* ADC3 init function */
void MX_ADC3_Init(void)
{

  ADC_ChannelConfTypeDef sConfig;

    /**Common config
    */
  hadc3.Instance = ADC3;
  hadc3.Init.ClockPrescaler = ADC_CLOCKPRESCALER_PCLK_DIV4;
  hadc3.Init.Resolution = ADC_RESOLUTION12b;
  hadc3.Init.ScanConvMode = ADC_SCAN_ENABLE;
  hadc3.Init.ContinuousConvMode = ENABLE;
  hadc3.Init.DiscontinuousConvMode = DISABLE;
  hadc3.Init.ExternalTrigConvEdge = ADC_EXTERNALTRIGCONVEDGE_NONE;
  hadc3.Init.DataAlign = ADC_DATAALIGN_RIGHT;
  hadc3.Init.NbrOfConversion = 2;
  hadc3.Init.DMAContinuousRequests = ENABLE;
  hadc3.Init.EOCSelection = EOC_SINGLE_CONV;
  hadc3.Init.LowPowerAutoWait = DISABLE;
  hadc3.Init.Overrun = OVR_DATA_OVERWRITTEN;
  HAL_ADC_Init(&hadc3);

    /**Configure Regular Channel
    */
  sConfig.Channel = ADC_CHANNEL_7;
  sConfig.Rank = 1;
  sConfig.SingleDiff = ADC_SINGLE_ENDED;
  sConfig.SamplingTime = ADC_SAMPLETIME_181CYCLES_5;
  sConfig.OffsetNumber = ADC_OFFSET_NONE;
  sConfig.Offset = 0;
  HAL_ADC_ConfigChannel(&hadc3, &sConfig);

    /**Configure Regular Channel
    */
  sConfig.Channel = ADC_CHANNEL_8;
  sConfig.Rank = 2;
  HAL_ADC_ConfigChannel(&hadc3, &sConfig);

}

/* I2C1 init function */
void MX_I2C1_Init(void)
{

  hi2c1.Instance = I2C1;
  hi2c1.Init.Timing = 0x0000020B;
  hi2c1.Init.OwnAddress1 = 0;
  hi2c1.Init.AddressingMode = I2C_ADDRESSINGMODE_7BIT;
  hi2c1.Init.DualAddressMode = I2C_DUALADDRESS_DISABLED;
  hi2c1.Init.OwnAddress2 = 0;
  hi2c1.Init.OwnAddress2Masks = I2C_OA2_NOMASK;
  hi2c1.Init.GeneralCallMode = I2C_GENERALCALL_DISABLED;
  hi2c1.Init.NoStretchMode = I2C_NOSTRETCH_DISABLED;
  HAL_I2C_Init(&hi2c1);

    /**Configure Analogue filter
    */
  HAL_I2CEx_AnalogFilter_Config(&hi2c1, I2C_ANALOGFILTER_ENABLED);

}

/* SPI1 init function */
void MX_SPI1_Init(void)
{

  hspi1.Instance = SPI1;
  hspi1.Init.Mode = SPI_MODE_MASTER;
  hspi1.Init.Direction = SPI_DIRECTION_2LINES;
  hspi1.Init.DataSize = SPI_DATASIZE_16BIT;
  hspi1.Init.CLKPolarity = SPI_POLARITY_HIGH;
  hspi1.Init.CLKPhase = SPI_PHASE_2EDGE;
  hspi1.Init.NSS = SPI_NSS_SOFT;
  hspi1.Init.BaudRatePrescaler = SPI_BAUDRATEPRESCALER_128;
  hspi1.Init.FirstBit = SPI_FIRSTBIT_MSB;
  hspi1.Init.TIMode = SPI_TIMODE_DISABLED;
  hspi1.Init.CRCCalculation = SPI_CRCCALCULATION_DISABLED;
  hspi1.Init.CRCPolynomial = 7;
  hspi1.Init.CRCLength = SPI_CRC_LENGTH_DATASIZE;
  hspi1.Init.NSSPMode = SPI_NSS_PULSE_DISABLED;
  HAL_SPI_Init(&hspi1);

}

/* TIM6 init function */
void MX_TIM6_Init(void)
{

  TIM_MasterConfigTypeDef sMasterConfig;

  htim6.Instance = TIM6;
  htim6.Init.Prescaler = 119;
  htim6.Init.CounterMode = TIM_COUNTERMODE_UP;
  htim6.Init.Period = 11999;
  HAL_TIM_Base_Init(&htim6);

  sMasterConfig.MasterOutputTrigger = TIM_TRGO_RESET;
  sMasterConfig.MasterSlaveMode = TIM_MASTERSLAVEMODE_DISABLE;
  HAL_TIMEx_MasterConfigSynchronization(&htim6, &sMasterConfig);

}

/* TIM7 init function */
void MX_TIM7_Init(void)
{

  TIM_MasterConfigTypeDef sMasterConfig;

  htim7.Instance = TIM7;
  htim7.Init.Prescaler = 71;
  htim7.Init.CounterMode = TIM_COUNTERMODE_UP;
  htim7.Init.Period = 9;
  HAL_TIM_Base_Init(&htim7);

  sMasterConfig.MasterOutputTrigger = TIM_TRGO_RESET;
  sMasterConfig.MasterSlaveMode = TIM_MASTERSLAVEMODE_DISABLE;
  HAL_TIMEx_MasterConfigSynchronization(&htim7, &sMasterConfig);

}

/* USART1 init function */
void MX_USART1_UART_Init(void)
{

  huart1.Instance = USART1;
  huart1.Init.BaudRate = 9600;
  huart1.Init.WordLength = UART_WORDLENGTH_8B;
  huart1.Init.StopBits = UART_STOPBITS_1;
  huart1.Init.Parity = UART_PARITY_NONE;
  huart1.Init.Mode = UART_MODE_TX_RX;
  huart1.Init.HwFlowCtl = UART_HWCONTROL_NONE;
  huart1.Init.OverSampling = UART_OVERSAMPLING_16;
  huart1.Init.OneBitSampling = UART_ONEBIT_SAMPLING_DISABLED ;
  huart1.AdvancedInit.AdvFeatureInit = UART_ADVFEATURE_NO_INIT;
  HAL_UART_Init(&huart1);

}

void MX_DMA_Init(void)
{
  /* DMA controller clock enable */
  __DMA2_CLK_ENABLE();
  __DMA1_CLK_ENABLE();

  /* DMA interrupt init */
  HAL_NVIC_SetPriority(DMA1_Channel4_IRQn, 0, 0);
  HAL_NVIC_EnableIRQ(DMA1_Channel4_IRQn);
  HAL_NVIC_SetPriority(DMA1_Channel5_IRQn, 0, 0);
  HAL_NVIC_EnableIRQ(DMA1_Channel5_IRQn);
  HAL_NVIC_SetPriority(DMA1_Channel7_IRQn, 0, 0);
  HAL_NVIC_EnableIRQ(DMA1_Channel7_IRQn);
  HAL_NVIC_SetPriority(DMA2_Channel5_IRQn, 0, 0);
  HAL_NVIC_EnableIRQ(DMA2_Channel5_IRQn);

}

/** Configure pins as
        * Analog
        * Input
        * Output
        * EVENT_OUT
        * EXTI
     PA11   ------> USB_DM
     PA12   ------> USB_DP
*/
void MX_GPIO_Init(void)
{

  GPIO_InitTypeDef GPIO_InitStruct;

  /* GPIO Ports Clock Enable */
  __GPIOE_CLK_ENABLE();
  __GPIOC_CLK_ENABLE();
  __GPIOF_CLK_ENABLE();
  __GPIOA_CLK_ENABLE();
  __GPIOD_CLK_ENABLE();
  __GPIOB_CLK_ENABLE();

  /*Configure GPIO pins : DRDY_Pin MEMS_INT3_Pin MEMS_INT4_Pin MEMS_INT2_Pin */
  GPIO_InitStruct.Pin = DRDY_Pin|MEMS_INT3_Pin|MEMS_INT4_Pin|MEMS_INT2_Pin;
  GPIO_InitStruct.Mode = GPIO_MODE_EVT_RISING;
  GPIO_InitStruct.Pull = GPIO_NOPULL;
  HAL_GPIO_Init(GPIOE, &GPIO_InitStruct);

  /*Configure GPIO pins : CS_I2C_SPI_Pin LD4_Pin LD3_Pin LD5_Pin
                           LD7_Pin LD9_Pin LD10_Pin LD8_Pin
                           LD6_Pin */
  GPIO_InitStruct.Pin = CS_I2C_SPI_Pin|LD4_Pin|LD3_Pin|LD5_Pin
                          |LD7_Pin|LD9_Pin|LD10_Pin|LD8_Pin
                          |LD6_Pin;
  GPIO_InitStruct.Mode = GPIO_MODE_OUTPUT_PP;
  GPIO_InitStruct.Pull = GPIO_NOPULL;
  GPIO_InitStruct.Speed = GPIO_SPEED_LOW;
  HAL_GPIO_Init(GPIOE, &GPIO_InitStruct);

  /*Configure GPIO pins : PC0 PC1 PC2 PC3
                           PC6 PC7 PC8 PC9 */
  GPIO_InitStruct.Pin = GPIO_PIN_0|GPIO_PIN_1|GPIO_PIN_2|GPIO_PIN_3
                          |GPIO_PIN_6|GPIO_PIN_7|GPIO_PIN_8|GPIO_PIN_9;
  GPIO_InitStruct.Mode = GPIO_MODE_OUTPUT_PP;
  GPIO_InitStruct.Pull = GPIO_NOPULL;
  GPIO_InitStruct.Speed = GPIO_SPEED_LOW;
  HAL_GPIO_Init(GPIOC, &GPIO_InitStruct);

  /*Configure GPIO pin : PA0 */
  GPIO_InitStruct.Pin = GPIO_PIN_0;
  GPIO_InitStruct.Mode = GPIO_MODE_IT_RISING;
  GPIO_InitStruct.Pull = GPIO_NOPULL;
  HAL_GPIO_Init(GPIOA, &GPIO_InitStruct);

  /*Configure GPIO pins : PA1 PA8 PA9 PA10 */
  GPIO_InitStruct.Pin = GPIO_PIN_1|GPIO_PIN_8|GPIO_PIN_9|GPIO_PIN_10;
  GPIO_InitStruct.Mode = GPIO_MODE_OUTPUT_PP;
  GPIO_InitStruct.Pull = GPIO_NOPULL;
  GPIO_InitStruct.Speed = GPIO_SPEED_LOW;
  HAL_GPIO_Init(GPIOA, &GPIO_InitStruct);

  /*Configure GPIO pins : DM_Pin DP_Pin */
  GPIO_InitStruct.Pin = DM_Pin|DP_Pin;
  GPIO_InitStruct.Mode = GPIO_MODE_AF_PP;
  GPIO_InitStruct.Pull = GPIO_NOPULL;
  GPIO_InitStruct.Speed = GPIO_SPEED_HIGH;
  GPIO_InitStruct.Alternate = GPIO_AF14_USB;
  HAL_GPIO_Init(GPIOA, &GPIO_InitStruct);

  /* EXTI interrupt init*/
  HAL_NVIC_SetPriority(EXTI0_IRQn, 0, 0);
  HAL_NVIC_EnableIRQ(EXTI0_IRQn);

}

/************************ (C) COPYRIGHT STMicroelectronics *****END OF FILE****/
